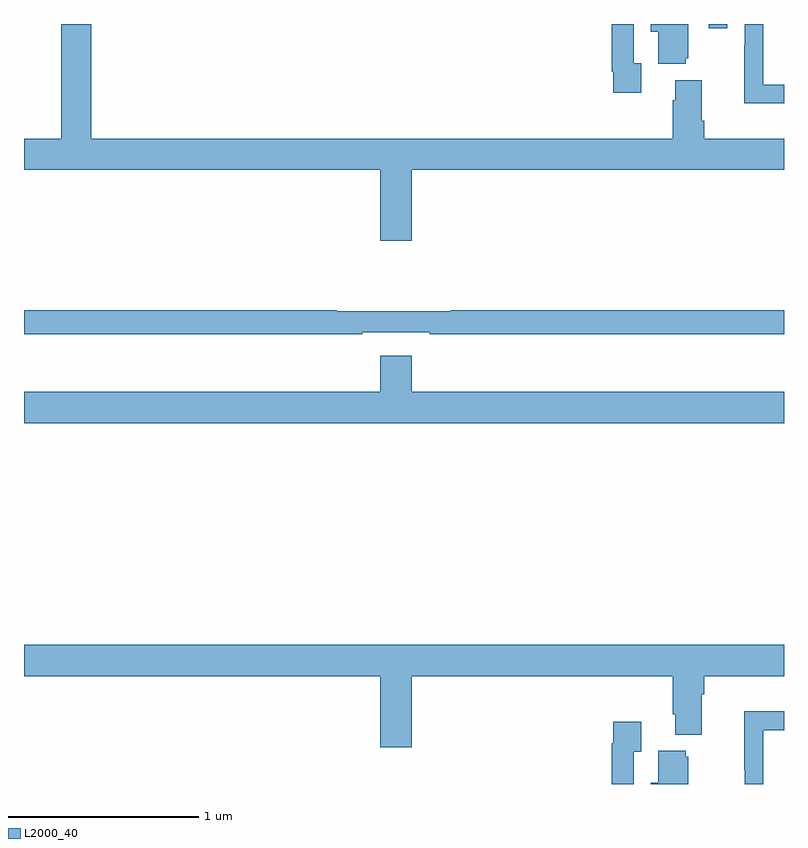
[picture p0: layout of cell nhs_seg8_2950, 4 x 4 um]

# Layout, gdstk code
import gdstk
lib = gdstk.Library(unit=1e-6, precision=1e-09)
def R(c, l, rs):  # rectangles x0, y0, x1, y1
    for r in rs: c.add(gdstk.rectangle(r[:2], r[2:], *l))
def P(c, l, *ps):  # polygons
    for p in ps: c.add(gdstk.Polygon(p, *l))
L2000_40 = (2000, 40)

nhs_seg8_2950 = lib.new_cell('nhs_seg8_2950')
R(nhs_seg8_2950, L2000_40, [(298.605,1151.877,298.701,1151.9)])
P(nhs_seg8_2950, L2000_40, [(295.355,1151.9),(295.195,1151.9),(295.195,1151.296),(295,1151.296),(295,1151.132),(296.876,1151.132),(296.876,1150.758),(297.04,1150.758),(297.04,1151.132),(299,1151.132),(299,1151.296),(298.58,1151.296),(298.58,1151.392),(298.567,1151.392),(298.567,1151.605),(298.427,1151.605),(298.427,1151.498),(298.415,1151.498),(298.415,1151.296),(295.355,1151.296)],
  [(298.484,1151.721),(298.495,1151.721),(298.495,1151.9),(298.298,1151.9),(298.298,1151.858),(298.337,1151.858),(298.337,1151.69),(298.484,1151.69)],
  [(298.249,1151.694),(298.209,1151.694),(298.209,1151.9),(298.093,1151.9),(298.093,1151.65),(298.101,1151.65),(298.101,1151.538),(298.249,1151.538)],
  [(299,1151.58),(298.89,1151.58),(298.89,1151.9),(298.794,1151.9),(298.794,1151.789),(298.792,1151.789),(298.792,1151.483),(299,1151.483)],
  [(296.78,1150.278),(297.136,1150.278),(297.136,1150.266),(299,1150.266),(299,1150.394),(297.245,1150.394),(297.245,1150.387),(296.645,1150.387),(296.645,1150.394),(295,1150.394),(295,1150.266),(296.78,1150.266)],
  [(299,1149.964),(297.04,1149.964),(297.04,1150.153),(296.876,1150.153),(296.876,1149.964),(295,1149.964),(295,1149.8),(299,1149.8)],
  [(297.04,1148.468),(298.415,1148.468),(298.415,1148.266),(298.427,1148.266),(298.427,1148.159),(298.567,1148.159),(298.567,1148.372),(298.58,1148.372),(298.58,1148.468),(299,1148.468),(299,1148.632),(295,1148.632),(295,1148.468),(296.876,1148.468),(296.876,1148.094),(297.04,1148.094)],
  [(298.89,1148.184),(299,1148.184),(299,1148.282),(298.792,1148.282),(298.792,1147.975),(298.794,1147.975),(298.794,1147.9),(298.89,1147.9)],
  [(298.209,1148.071),(298.249,1148.071),(298.249,1148.227),(298.101,1148.227),(298.101,1148.114),(298.093,1148.114),(298.093,1147.9),(298.209,1147.9)],
  [(298.495,1148.043),(298.484,1148.043),(298.484,1148.074),(298.337,1148.074),(298.337,1147.906),(298.298,1147.906),(298.298,1147.9),(298.495,1147.9)])

lib.write_gds('nhs_seg8_2950.gds')
